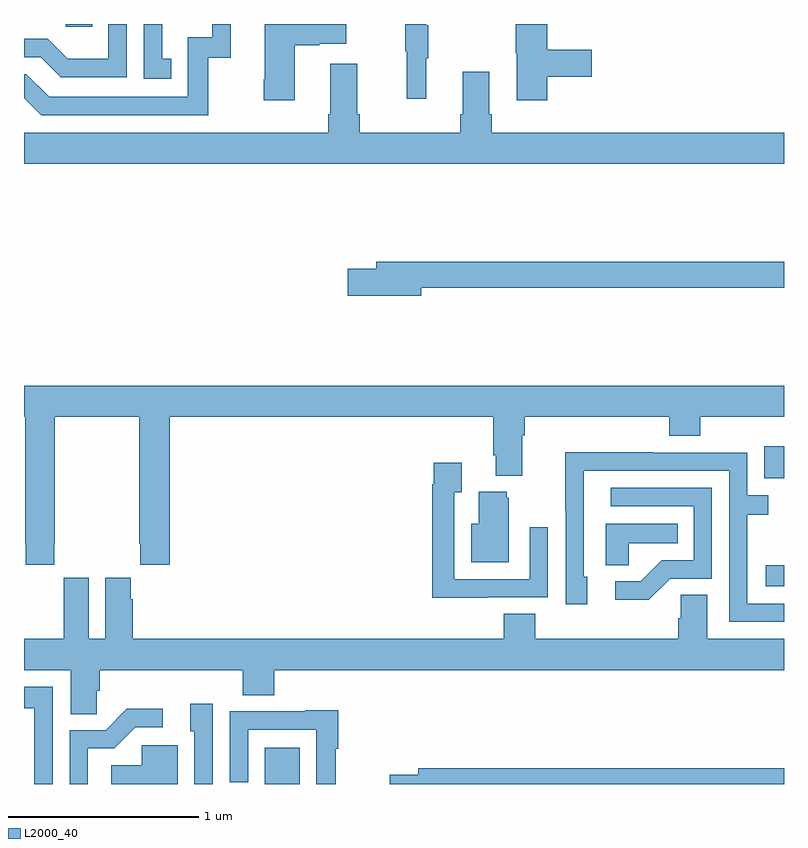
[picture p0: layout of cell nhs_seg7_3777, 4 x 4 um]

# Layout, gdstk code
import gdstk
lib = gdstk.Library(unit=1e-6, precision=1e-09)
def R(c, l, rs):  # rectangles x0, y0, x1, y1
    for r in rs: c.add(gdstk.rectangle(r[:2], r[2:], *l))
def P(c, l, *ps):  # polygons
    for p in ps: c.add(gdstk.Polygon(p, *l))
L2000_40 = (2000, 40)

nhs_seg7_3777 = lib.new_cell('nhs_seg7_3777')
R(nhs_seg7_3777, L2000_40, [(352.268,1016,352.45,1016.191), (354.903,1017.041,355,1017.151), (354.897,1017.609,355,1017.778), (351.219,1019.985,351.359,1020)])
P(nhs_seg7_3777, L2000_40, [(351.97,1019.823),(352.088,1019.823),(352.088,1020),(351.99,1020),(351.99,1019.931),(351.861,1019.931),(351.861,1019.616),(351.132,1019.616),(351.012,1019.736),(351,1019.736),(351,1019.61),(351.09,1019.52),(351.97,1019.52)],
  [(352.426,1019.887),(352.553,1019.887),(352.553,1019.897),(352.696,1019.897),(352.696,1020),(352.268,1020),(352.268,1019.71),(352.261,1019.71),(352.261,1019.598),(352.426,1019.598)],
  [(351.776,1019.817),(351.727,1019.817),(351.727,1020),(351.63,1020),(351.63,1019.712),(351.776,1019.712)],
  [(353.753,1019.722),(353.989,1019.722),(353.989,1019.864),(353.753,1019.864),(353.753,1020),(353.587,1020),(353.587,1019.847),(353.594,1019.847),(353.594,1019.598),(353.753,1019.598)],
  [(351.54,1020),(351.444,1020),(351.444,1019.818),(351.23,1019.818),(351.126,1019.922),(351,1019.922),(351,1019.826),(351.089,1019.826),(351.194,1019.721),(351.54,1019.721)],
  [(353.117,1019.819),(353.128,1019.819),(353.128,1019.993),(353.117,1019.993),(353.117,1020),(353.007,1020),(353.007,1019.856),(353.014,1019.856),(353.014,1019.607),(353.117,1019.607)],
  [(355,1019.428),(353.462,1019.428),(353.462,1019.524),(353.449,1019.524),(353.449,1019.749),(353.309,1019.749),(353.309,1019.524),(353.297,1019.524),(353.297,1019.428),(352.766,1019.428),(352.766,1019.524),(352.753,1019.524),(352.753,1019.791),(352.613,1019.791),(352.613,1019.524),(352.601,1019.524),(352.601,1019.428),(351,1019.428),(351,1019.264),(355,1019.264)],
  [(353.092,1018.612),(355,1018.612),(355,1018.748),(352.853,1018.748),(352.853,1018.712),(352.704,1018.712),(352.704,1018.57),(353.092,1018.57)],
  [(351.159,1017.265),(351.162,1017.265),(351.162,1017.932),(351.607,1017.932),(351.607,1017.265),(351.613,1017.265),(351.613,1017.153),(351.767,1017.153),(351.767,1017.932),(353.471,1017.932),(353.471,1017.73),(353.483,1017.73),(353.483,1017.623),(353.623,1017.623),(353.623,1017.836),(353.636,1017.836),(353.636,1017.932),(354.395,1017.932),(354.395,1017.833),(354.56,1017.833),(354.56,1017.932),(355,1017.932),(355,1018.096),(351,1018.096),(351,1017.932),(351.007,1017.932),(351.007,1017.265),(351.009,1017.265),(351.009,1017.153),(351.159,1017.153)],
  [(355,1016.949),(354.807,1016.949),(354.807,1017.418),(354.917,1017.418),(354.917,1017.519),(354.807,1017.519),(354.807,1017.744),(354.311,1017.744),(354.311,1017.746),(353.848,1017.746),(353.848,1017.439),(353.85,1017.439),(353.85,1016.946),(353.965,1016.946),(353.965,1017.09),(353.946,1017.09),(353.946,1017.648),(354.711,1017.648),(354.711,1016.853),(355,1016.853)],
  [(353.441,1016.982),(353.757,1016.982),(353.757,1017.352),(353.661,1017.352),(353.661,1017.078),(353.265,1017.078),(353.265,1017.535),(353.305,1017.535),(353.305,1017.691),(353.157,1017.691),(353.157,1017.578),(353.149,1017.578),(353.149,1016.981),(353.441,1016.981)],
  [(354.402,1017.081),(354.621,1017.081),(354.621,1017.558),(354.087,1017.558),(354.087,1017.462),(354.525,1017.462),(354.525,1017.177),(354.356,1017.177),(354.245,1017.066),(354.111,1017.066),(354.111,1016.969),(354.289,1016.969)],
  [(353.551,1017.507),(353.54,1017.507),(353.54,1017.538),(353.393,1017.538),(353.393,1017.37),(353.354,1017.37),(353.354,1017.167),(353.551,1017.167)],
  [(354.183,1017.266),(354.44,1017.266),(354.44,1017.37),(354.062,1017.37),(354.062,1017.151),(354.183,1017.151)],
  [(355,1016.764),(354.595,1016.764),(354.595,1016.996),(354.456,1016.996),(354.456,1016.873),(354.443,1016.873),(354.443,1016.764),(353.69,1016.764),(353.69,1016.897),(353.525,1016.897),(353.525,1016.764),(351.572,1016.764),(351.572,1016.972),(351.562,1016.972),(351.562,1017.085),(351.428,1017.085),(351.428,1016.764),(351.34,1016.764),(351.34,1017.085),(351.21,1017.085),(351.21,1016.972),(351.209,1016.972),(351.209,1016.764),(351,1016.764),(351,1016.6),(351.245,1016.6),(351.245,1016.368),(351.384,1016.368),(351.384,1016.491),(351.398,1016.491),(351.398,1016.6),(352.151,1016.6),(352.151,1016.467),(352.316,1016.467),(352.316,1016.6),(355,1016.6)],
  [(351.15,1016.511),(351,1016.511),(351,1016.4),(351.053,1016.4),(351.053,1016),(351.15,1016)],
  [(351.993,1016.422),(351.875,1016.422),(351.875,1016.277),(351.897,1016.277),(351.897,1016),(351.993,1016)],
  [(351.336,1016.187),(351.474,1016.187),(351.585,1016.298),(351.73,1016.298),(351.73,1016.396),(351.542,1016.396),(351.429,1016.283),(351.24,1016.283),(351.24,1016),(351.336,1016)],
  [(352.64,1016.185),(352.655,1016.185),(352.655,1016.389),(352.479,1016.389),(352.479,1016.382),(352.083,1016.382),(352.083,1016.01),(352.179,1016.01),(352.179,1016.286),(352.539,1016.286),(352.539,1016),(352.64,1016)],
  [(351.808,1016.205),(351.621,1016.205),(351.621,1016.098),(351.459,1016.098),(351.459,1016),(351.808,1016)],
  [(355,1016.084),(353.075,1016.084),(353.075,1016.048),(352.926,1016.048),(352.926,1016),(355,1016)])

lib.write_gds('nhs_seg7_3777.gds')
